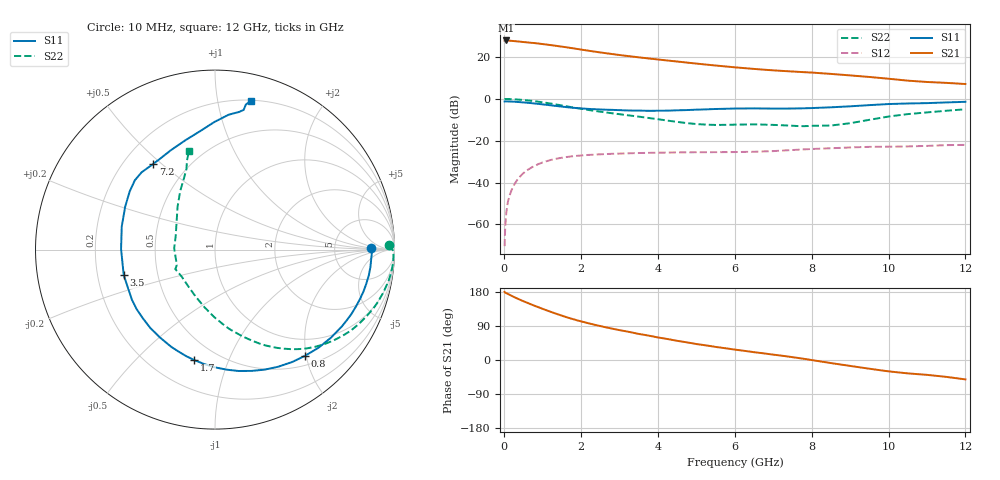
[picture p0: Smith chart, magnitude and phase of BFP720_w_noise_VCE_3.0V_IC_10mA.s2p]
! (c) 2012  Infineon Technologies AG, Munich
! Infineon Technologies  Discrete & RF Semiconductors
! BFP720
! VCE =  3.0 V,  IC =  10 mA
! Common Emitter S-Parameters:  Aug 2012
# GHz  S  MA  R  50
!  f  S11  S21  S12  S22
! GHz  MAG  ANG  MAG  ANG  MAG  ANG  MAG  ANG
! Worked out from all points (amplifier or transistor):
!   105 points, 10 MHz to 12 GHz, reference 50 ohm
!   highest |S21| = 28.0 dB at 50 MHz (marker M1)
!   |S21| within 3 dB of that: start of sweep to 1.514 GHz
!   unconditionally stable (mu >= 1): start of sweep to 13.01 MHz; 5.504 GHz to 11.21 GHz
!   at 300 MHz: K = 0.09, MSG = 33.7 dB, |S12| = -39.8 dB
!   at 3.6 GHz: K = 0.70, MSG = 22.8 dB, |S12| = -25.8 dB
!   at 12 GHz: K = 0.79, MSG = 14.6 dB, |S12| = -22.0 dB
!   lowest NFmin = 0.53 dB at 450 MHz
!   S11 on the Smith chart (normalised r, x): 10 MHz: 14, +1; 800 MHz: 0.67, -1.98; 1.7 GHz: 0.37, -0.76; 3.5 GHz: 0.31, -0.12; 7.2 GHz: 0.32, +0.47; 12 GHz: 0.20, +1.25
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0.01  0.8709 0.6  24.95 179.7  0.0003 6.7  0.972 1.6
0.02  0.8742 -1.2  24.89 178.1  0.0006 91.9  0.9939 -0.5
0.05  0.8721 -3.1  25.11 176.6  0.0017 84.6  0.9948 -1.9
0.25  0.8595 -15.8  24.31 166.5  0.0086 80.5  0.9832 -10.1
0.4  0.8409 -25.1  23.55 159.5  0.0135 75.8  0.9602 -16.0
0.6  0.8111 -37.3  22.56 150.9  0.0198 69.3  0.9237 -23.5
0.8  0.7758 -49.7  21.68 142.7  0.0254 63.0  0.8815 -30.8
1  0.7416 -61.6  20.57 135.0  0.0303 57.0  0.8311 -37.6
1.2  0.7057 -73.3  19.49 127.5  0.0344 51.5  0.7787 -44.0
1.4  0.6719 -84.5  18.38 120.4  0.0378 46.5  0.7248 -49.9
1.7  0.6262 -100.6  16.78 110.5  0.0417 40.0  0.6478 -57.7
2.1  0.5845 -118.1  14.7 99.4  0.0451 33.2  0.5624 -66.3
2.4  0.5661 -129.6  13.37 91.8  0.0469 29.0  0.5105 -72.0
2.7  0.5509 -139.5  12.24 85.1  0.0482 25.7  0.4681 -77.1
3.5  0.5279 -164.4  9.915 68.8  0.0508 19.0  0.3774 -90.4
4.1  0.5234 176.8  8.605 57.9  0.0519 15.3  0.3175 -102.3
5  0.5546 154.5  7.024 42.1  0.053 11.0  0.2511 -127.3
6.1  0.5907 138.0  5.616 26.1  0.0538 8.8  0.2434 -150.8
7.2  0.5888 125.7  4.709 11.6  0.0579 9.1  0.2353 -156.4
8.5  0.6311 105.2  3.975 -8.1  0.0661 4.2  0.2312 161.4
10.5  0.7792 80.0  2.743 -35.3  0.073 -6.2  0.4337 113.5
12  0.8542 76.4  2.279 -51.2  0.0797 -13.9  0.5661 104.8
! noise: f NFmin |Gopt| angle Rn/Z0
0.45  0.53  0.29  1  0.21
1.8  0.58  0.26  18  0.12
2.4  0.64  0.23  38  0.29
5.5  0.78  0.11  20  0.14
10  0.97  0.4  -78  0.22
